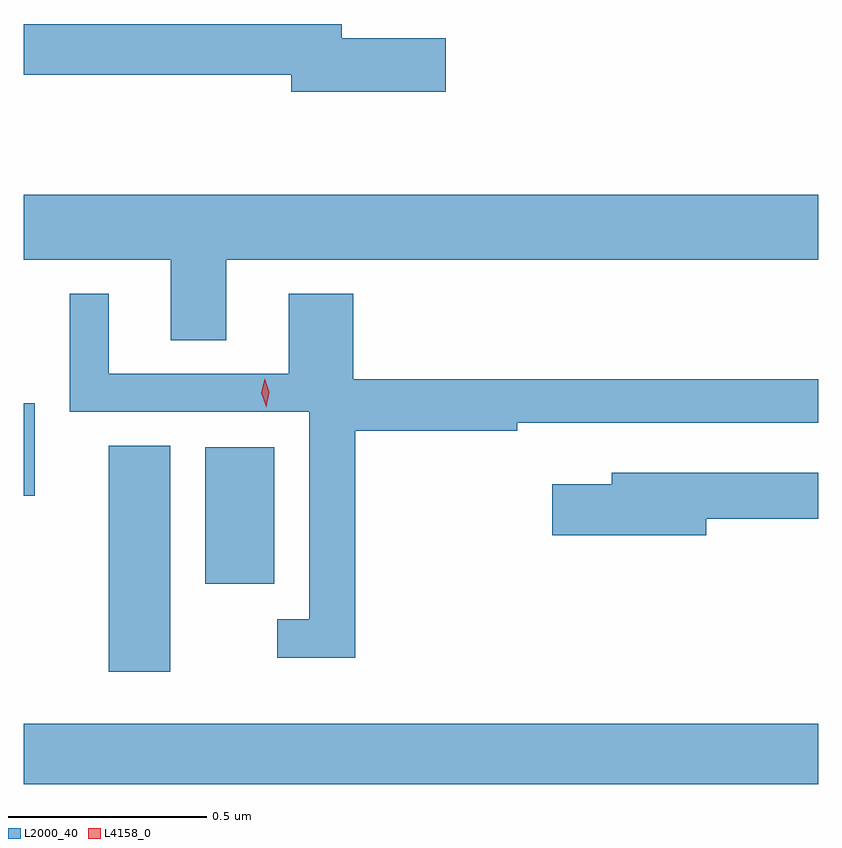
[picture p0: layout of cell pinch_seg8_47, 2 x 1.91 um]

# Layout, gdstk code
import gdstk
lib = gdstk.Library(unit=1e-6, precision=1e-09)
def R(c, l, rs):  # rectangles x0, y0, x1, y1
    for r in rs: c.add(gdstk.rectangle(r[:2], r[2:], *l))
def P(c, l, *ps):  # polygons
    for p in ps: c.add(gdstk.Polygon(p, *l))
L2000_40 = (2000, 40)
L4158_0 = (4158, 0)

pinch_seg8_47 = lib.new_cell('pinch_seg8_47')
R(pinch_seg8_47, L2000_40, [(936.787,1153.808,938.787,1153.96), (937.001,1154.091,937.156,1154.66), (937.244,1154.312,937.417,1154.656), (936.787,1154.534,936.814,1154.767)])
P(pinch_seg8_47, L2000_40, [(937.849,1155.686),(937.588,1155.686),(937.588,1155.722),(936.787,1155.722),(936.787,1155.594),(937.46,1155.594),(937.46,1155.551),(937.849,1155.551)],
  [(937.297,1155.128),(938.787,1155.128),(938.787,1155.292),(936.787,1155.292),(936.787,1155.128),(937.157,1155.128),(937.157,1154.926),(937.297,1154.926)],
  [(937.622,1154.698),(938.03,1154.698),(938.03,1154.718),(938.787,1154.718),(938.787,1154.827),(937.616,1154.827),(937.616,1155.043),(937.454,1155.043),(937.454,1154.841),(937,1154.841),(937,1155.043),(936.902,1155.043),(936.902,1154.745),(937.506,1154.745),(937.506,1154.223),(937.425,1154.223),(937.425,1154.126),(937.622,1154.126)],
  [(938.506,1154.476),(938.787,1154.476),(938.787,1154.592),(938.267,1154.592),(938.267,1154.563),(938.118,1154.563),(938.118,1154.434),(938.506,1154.434)])
P(pinch_seg8_47, L4158_0, [(937.397,1154.757),(937.397,1154.758),(937.385,1154.793),(937.393,1154.829),(937.393,1154.829),(937.393,1154.829),(937.405,1154.794),(937.397,1154.758)])

lib.write_gds('pinch_seg8_47.gds')
